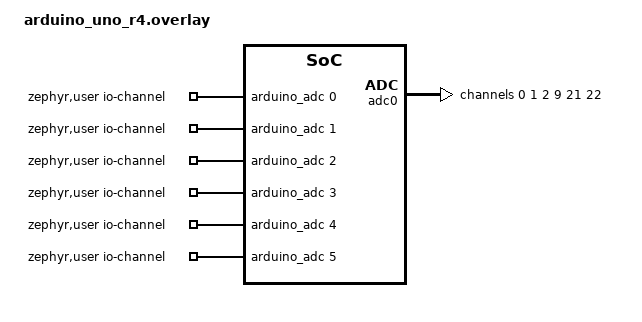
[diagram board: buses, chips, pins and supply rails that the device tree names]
/*
 * Copyright (c) 2025 TOKITA Hiroshi
 *
 * SPDX-License-Identifier: Apache-2.0
 */

/ {
	zephyr,user {
		io-channels = <&arduino_adc 0>, <&arduino_adc 1>, <&arduino_adc 2>,
			      <&arduino_adc 3>, <&arduino_adc 4>, <&arduino_adc 5>;
	};
};

&adc0 {
	status = "okay";
	#address-cells = <1>;
	#size-cells = <0>;

	channel@0 {
		reg = <0>;
		zephyr,gain = "ADC_GAIN_1";
		zephyr,reference = "ADC_REF_VDD_1";
		zephyr,resolution = <12>;
		zephyr,acquisition-time = <ADC_ACQ_TIME_DEFAULT>;
		zephyr,vref-mv = <5000>;
	};

	channel@1 {
		reg = <1>;
		zephyr,gain = "ADC_GAIN_1";
		zephyr,reference = "ADC_REF_VDD_1";
		zephyr,resolution = <12>;
		zephyr,acquisition-time = <ADC_ACQ_TIME_DEFAULT>;
		zephyr,vref-mv = <5000>;
	};

	channel@2 {
		reg = <2>;
		zephyr,gain = "ADC_GAIN_1";
		zephyr,reference = "ADC_REF_VDD_1";
		zephyr,resolution = <12>;
		zephyr,acquisition-time = <ADC_ACQ_TIME_DEFAULT>;
		zephyr,vref-mv = <5000>;
	};

	channel@9 {
		reg = <9>;
		zephyr,gain = "ADC_GAIN_1";
		zephyr,reference = "ADC_REF_VDD_1";
		zephyr,resolution = <12>;
		zephyr,acquisition-time = <ADC_ACQ_TIME_DEFAULT>;
		zephyr,vref-mv = <5000>;
	};

	channel@21 {
		reg = <21>;
		zephyr,gain = "ADC_GAIN_1";
		zephyr,reference = "ADC_REF_VDD_1";
		zephyr,resolution = <12>;
		zephyr,acquisition-time = <ADC_ACQ_TIME_DEFAULT>;
		zephyr,vref-mv = <5000>;
	};

	channel@22 {
		reg = <22>;
		zephyr,gain = "ADC_GAIN_1";
		zephyr,reference = "ADC_REF_VDD_1";
		zephyr,resolution = <12>;
		zephyr,acquisition-time = <ADC_ACQ_TIME_DEFAULT>;
		zephyr,vref-mv = <5000>;
	};
};
